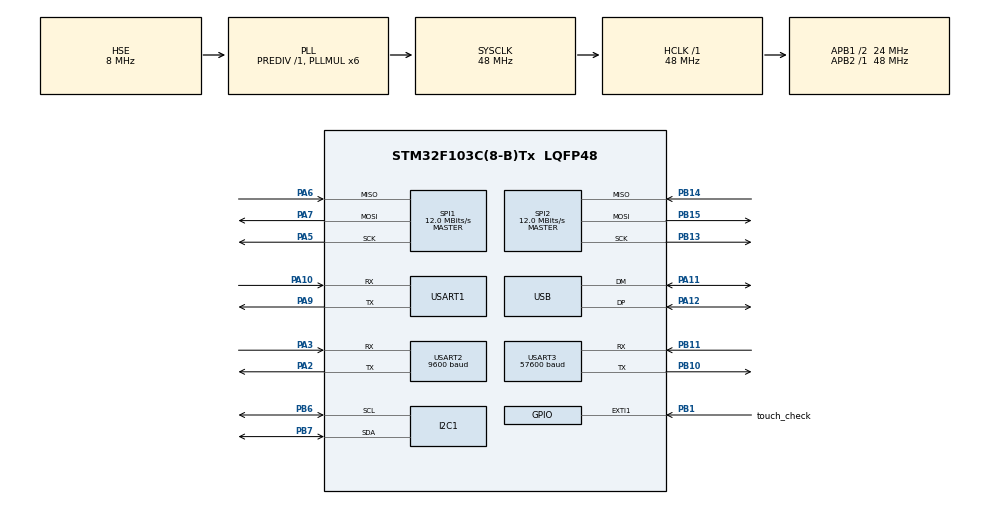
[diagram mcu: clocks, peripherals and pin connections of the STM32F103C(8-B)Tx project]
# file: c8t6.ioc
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Mcu.Family=STM32F1
Mcu.Name=STM32F103C(8-B)Tx
Mcu.Package=LQFP48
NVIC.EXTI1_IRQn=true\:9\:0\:true\:false\:true\:true\:true\:true
NVIC.I2C1_ER_IRQn=true\:0\:0\:false\:false\:true\:true\:true\:true
NVIC.I2C1_EV_IRQn=true\:0\:0\:false\:false\:true\:true\:true\:true
NVIC.PriorityGroup=NVIC_PRIORITYGROUP_4
NVIC.USART1_IRQn=true\:0\:0\:false\:false\:true\:true\:true\:true
NVIC.USART3_IRQn=true\:0\:0\:false\:false\:true\:true\:true\:true
NVIC.USB_LP_CAN1_RX0_IRQn=true\:0\:0\:false\:false\:true\:false\:true\:true
PA10.Mode=Asynchronous
PA10.Signal=USART1_RX
PA11.Mode=Device
PA11.Signal=USB_DM
PA12.Mode=Device
PA12.Signal=USB_DP
PA2.Mode=Asynchronous
PA2.Signal=USART2_TX
PA3.Mode=Asynchronous
PA3.Signal=USART2_RX
PA5.Mode=Full_Duplex_Master
PA5.Signal=SPI1_SCK
PA6.Mode=Full_Duplex_Master
PA6.Signal=SPI1_MISO
PA7.Mode=Full_Duplex_Master
PA7.Signal=SPI1_MOSI
PA9.Mode=Asynchronous
PA9.Signal=USART1_TX
PB1.GPIO_Label=touch_check
PB1.GPIO_ModeDefaultEXTI=GPIO_MODE_IT_RISING
PB1.GPIO_PuPd=GPIO_NOPULL
PB1.Signal=GPXTI1
PB10.Mode=Asynchronous
PB10.Signal=USART3_TX
PB11.GPIO_PuPd=GPIO_PULLUP
PB11.Mode=Asynchronous
PB11.Signal=USART3_RX
PB13.Mode=Full_Duplex_Master
PB13.Signal=SPI2_SCK
PB14.Mode=Full_Duplex_Master
PB14.Signal=SPI2_MISO
PB15.Mode=Full_Duplex_Master
PB15.Signal=SPI2_MOSI
PB6.Mode=I2C
PB6.Signal=I2C1_SCL
PB7.Mode=I2C
PB7.Signal=I2C1_SDA
PD0-OSC_IN.Mode=HSE-External-Oscillator
PD0-OSC_IN.Signal=RCC_OSC_IN
PD1-OSC_OUT.Mode=HSE-External-Oscillator
PD1-OSC_OUT.Signal=RCC_OSC_OUT
ProjectManager.HeapSize=0x200
ProjectManager.StackSize=0x400
ProjectManager.TargetToolchain=MDK-ARM V5
RCC.AHBFreq_Value=48000000
RCC.APB1CLKDivider=RCC_HCLK_DIV2
RCC.APB1Freq_Value=24000000
RCC.APB1TimFreq_Value=48000000
RCC.APB2Freq_Value=48000000
RCC.APB2TimFreq_Value=48000000
RCC.HCLKFreq_Value=48000000
RCC.PLLMUL=RCC_PLL_MUL6
RCC.PLLSourceVirtual=RCC_PLLSOURCE_HSE
RCC.SYSCLKFreq_VALUE=48000000
RCC.SYSCLKSource=RCC_SYSCLKSOURCE_PLLCLK
RCC.USBFreq_Value=48000000
SPI1.BaudRatePrescaler=SPI_BAUDRATEPRESCALER_4
SPI1.CalculateBaudRate=12.0 MBits/s
SPI1.Direction=SPI_DIRECTION_2LINES
SPI1.Mode=SPI_MODE_MASTER
SPI1.VirtualType=VM_MASTER
SPI2.CalculateBaudRate=12.0 MBits/s
SPI2.Direction=SPI_DIRECTION_2LINES
SPI2.Mode=SPI_MODE_MASTER
SPI2.VirtualType=VM_MASTER
USART1.VirtualMode=VM_ASYNC
USART2.BaudRate=9600
USART2.VirtualMode=VM_ASYNC
USART3.BaudRate=57600
USART3.StopBits=STOPBITS_2
USART3.VirtualMode=VM_ASYNC
USB_DEVICE.CLASS_NAME_FS=CUSTOM_HID
USB_DEVICE.VirtualMode=CustomHid
USB_DEVICE.VirtualModeFS=Custom_Hid_FS
VP_SYS_VS_ND.Mode=No_Debug
VP_USB_DEVICE_VS_USB_DEVICE_CUSTOM_HID_FS.Mode=CUSTOM_HID_FS
board=custom

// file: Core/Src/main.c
/* USER CODE BEGIN Header */
/**
  ******************************************************************************
  * @file           : main.c
  * @brief          : Main program body
  ******************************************************************************
  * @attention
  *
  * Copyright (c) 2023 STMicroelectronics.
  * All rights reserved.
  *
  * This software is licensed under terms that can be found in the LICENSE file
  * in the root directory of this software component.
  * If no LICENSE file comes with this software, it is provided AS-IS.
  *
  ******************************************************************************
  */
/* USER CODE END Header */
#include "main.h"
#include "i2c.h"
#include "spi.h"
#include "usart.h"
#include "usb_device.h"
#include "gpio.h"

/* USER CODE BEGIN Includes */
#include <string.h>
/* USER CODE END Includes */

/* USER CODE BEGIN PTD */
#ifndef pack_head
#define pack_head 						0xEF,0x01						//包头
#define fingerprint_address				0xff,0xff,0xff,0xff				//芯片地址
//over there is tatle auto
//under there is lcd_cmd
#define lcd_close 						0x00							//关灯
#define lcd_color_red 					0x04							//红灯
#define lcd_color_blue					0x01							//蓝灯
#define lcd_color_green					0x02							//绿灯
#define lcd_color_red_green 			0x06							//绿红灯
#define lcd_color_green_red				0x06							//绿红灯
#define lcd_color_red_blue				0x05							//蓝红灯
#define lcd_color_blue_red				0x05							//蓝红灯
#define lcd_color_green_blue			0x03							//蓝绿灯
#define lcd_color_blue_green			0x03							//蓝绿灯
#define lcd_color_all_in				0x07							//红蓝绿灯
#define pack_long_lcd_h					0x00							//lcd命令----包长度高八位
#define pack_long_lcd_l					0x07							//lcd命令----包长度低八位
#define pack_sign_lcd					0x01							//包标志
#define num_of_cycle_infinite_lcd		0x00							//lcd循环次数
#define instruction_code_lcd			0x3C							//lcd指令码
#endif
//检查指纹模块是否能够正常使用
void finger_print_check(void);
//lcd简易控制
void lcd_control(uint8_t ,uint8_t ,uint8_t , uint8_t );
/* USER CODE END PTD */

/* USER CODE BEGIN PD */
//lcd亮灯模式，------->>>>>>功能码
enum {
	breath = 0x01,//0x01 呼吸灯，
	flashing_light = 0x02,//0x02 闪烁灯
	everbright = 0x03,//0x03 常亮
	everclose = 0x04,//0x04 长灭
	involote_lamp = 0x05,//0x05 渐开灯
	involote_close = 0x06,//0x06 渐灭灯
}function_code_lcd;

//校验和
uint8_t check_sum_h=0x00;
uint8_t check_sum_l=0x00;

//最后两位是校验位，计算方法：
//从包标志到校验位之前一位所有的和，超过的二进制进位忽略

uint8_t message_lcd_return[11];
/* USER CODE END PD */

/* USER CODE BEGIN PM */
//lcd校验和固定长度：1+7+3c === 44+lcd亮灯模式+起始颜色+结束颜色+循环次数
//lcd灯控制函数
					//lcd亮灯模式，					//起始颜色   // 结束颜色    //循环次数
void lcd_control(uint8_t function_code_lcd,uint8_t color_begin,uint8_t color_end, uint8_t time)
{
	uint32_t check_sum = pack_sign_lcd+pack_long_lcd_h+pack_long_lcd_l+instruction_code_lcd+function_code_lcd+color_begin+color_end+time;
	check_sum_l = check_sum&0xff;//获取di八位
	check_sum>>=8;
	check_sum_h = check_sum&0xff; //获取gao八位
	uint8_t cmd[]={pack_head,fingerprint_address,pack_sign_lcd,pack_long_lcd_h,pack_long_lcd_l,instruction_code_lcd,function_code_lcd,color_begin,color_end,time,check_sum_h,check_sum_l};
	HAL_UART_Transmit(&huart3,cmd,16,200);//lcd的基本控制命令只有16个字节
//	HAL_UART_Receive(&huart3,message_lcd_return,11,200);
//	HAL_UART_Transmit(&huart1,cmd,16,200);
//	HAL_Delay(10);
//	HAL_UART_Transmit(&huart1,message_lcd_return,11,200);
}

//检查指纹模块是否可以使用！！！
//向串口一返回值！！自行查看返回值与手册对照判断指纹是否有效
void finger_print_check()
{
	//校验和= 包标志+……加指令码
  uint32_t check_sum = pack_sign_lcd+0x03+0x36;
  check_sum_l = check_sum&0xff;//获取di八位
  check_sum>>=8;
  check_sum_h = check_sum&0xff; //获取gao八位
	//				包头			设备地址			包标志		两位包长度	指令码	校验和
  uint8_t cmd[] = {pack_head,fingerprint_address,pack_sign_lcd,0x00,0x03,0x36,check_sum_h,check_sum_l};
  HAL_UART_Transmit_IT(&huart3,cmd,12);
  HAL_UART_Receive_IT(&huart3,message_lcd_return,12);
  HAL_UART_Transmit_IT(&huart1,message_lcd_return,12);
}
//设置指纹模块进入休眠模式并且开启PB1的上升沿中断
void set_sleep_finger_print()
{
  uint8_t cmd[] = {pack_head,0xFF,0xFF,0xFF,0xFF,0x01,0x00,0x03,0x33,0x00,0x37};
  HAL_UART_Transmit(&huart3,cmd,12,100);
  HAL_Delay(20);
  HAL_UART_Transmit(&huart1,cmd,12,100);
  HAL_UART_Receive(&huart3,cmd,12,100);
  HAL_UART_Transmit(&huart1,cmd,12,100);
  HAL_NVIC_EnableIRQ(EXTI1_IRQn);//开启PB1的上升沿中断
}
/* USER CODE END PM */

void SystemClock_Config(void);

int main(void)
{

  /* MCU Configuration--------------------------------------------------------*/

  /* Reset of all peripherals, Initializes the Flash interface and the Systick. */
  HAL_Init();

  /* Configure the system clock */
  SystemClock_Config();

  /* USER CODE BEGIN SysInit */
  //初始化先关闭外部中断PB1引脚，，，，
  HAL_NVIC_DisableIRQ(EXTI1_IRQn);

  /* USER CODE END SysInit */

  /* Initialize all configured peripherals */
  MX_GPIO_Init();
  MX_USART1_UART_Init();
  MX_USART3_UART_Init();
  MX_I2C1_Init();
  MX_USART2_UART_Init();
  MX_SPI1_Init();
  MX_SPI2_Init();
  MX_USB_DEVICE_Init();
  /* USER CODE BEGIN 2 */
  lcd_control(flashing_light,lcd_color_blue,lcd_color_blue,10);
   //把PB1中断屏蔽，并且把指纹模块休眠
  set_sleep_finger_print();
  /* USER CODE END 2 */

  /* Infinite loop */
  while (1)
  {

  }
}

void SystemClock_Config(void)
{
  RCC_OscInitTypeDef RCC_OscInitStruct = {0};
  RCC_ClkInitTypeDef RCC_ClkInitStruct = {0};
  RCC_PeriphCLKInitTypeDef PeriphClkInit = {0};

  /** Initializes the RCC Oscillators according to the specified parameters
  * in the RCC_OscInitTypeDef structure.
  */
  RCC_OscInitStruct.OscillatorType = RCC_OSCILLATORTYPE_HSE;
  RCC_OscInitStruct.HSEState = RCC_HSE_ON;
  RCC_OscInitStruct.HSEPredivValue = RCC_HSE_PREDIV_DIV1;
  RCC_OscInitStruct.HSIState = RCC_HSI_ON;
  RCC_OscInitStruct.PLL.PLLState = RCC_PLL_ON;
  RCC_OscInitStruct.PLL.PLLSource = RCC_PLLSOURCE_HSE;
  RCC_OscInitStruct.PLL.PLLMUL = RCC_PLL_MUL6;
  if (HAL_RCC_OscConfig(&RCC_OscInitStruct) != HAL_OK)
  {
    Error_Handler();
  }

  /** Initializes the CPU, AHB and APB buses clocks
  */
  RCC_ClkInitStruct.ClockType = RCC_CLOCKTYPE_HCLK|RCC_CLOCKTYPE_SYSCLK
                              |RCC_CLOCKTYPE_PCLK1|RCC_CLOCKTYPE_PCLK2;
  RCC_ClkInitStruct.SYSCLKSource = RCC_SYSCLKSOURCE_PLLCLK;
  RCC_ClkInitStruct.AHBCLKDivider = RCC_SYSCLK_DIV1;
  RCC_ClkInitStruct.APB1CLKDivider = RCC_HCLK_DIV2;
  RCC_ClkInitStruct.APB2CLKDivider = RCC_HCLK_DIV1;

  if (HAL_RCC_ClockConfig(&RCC_ClkInitStruct, FLASH_LATENCY_1) != HAL_OK)
  {
    Error_Handler();
  }
  PeriphClkInit.PeriphClockSelection = RCC_PERIPHCLK_USB;
  PeriphClkInit.UsbClockSelection = RCC_USBCLKSOURCE_PLL;
  if (HAL_RCCEx_PeriphCLKConfig(&PeriphClkInit) != HAL_OK)
  {
    Error_Handler();
  }
}

void Error_Handler(void)
{
  __disable_irq();
  while (1)
  {
  }
}
